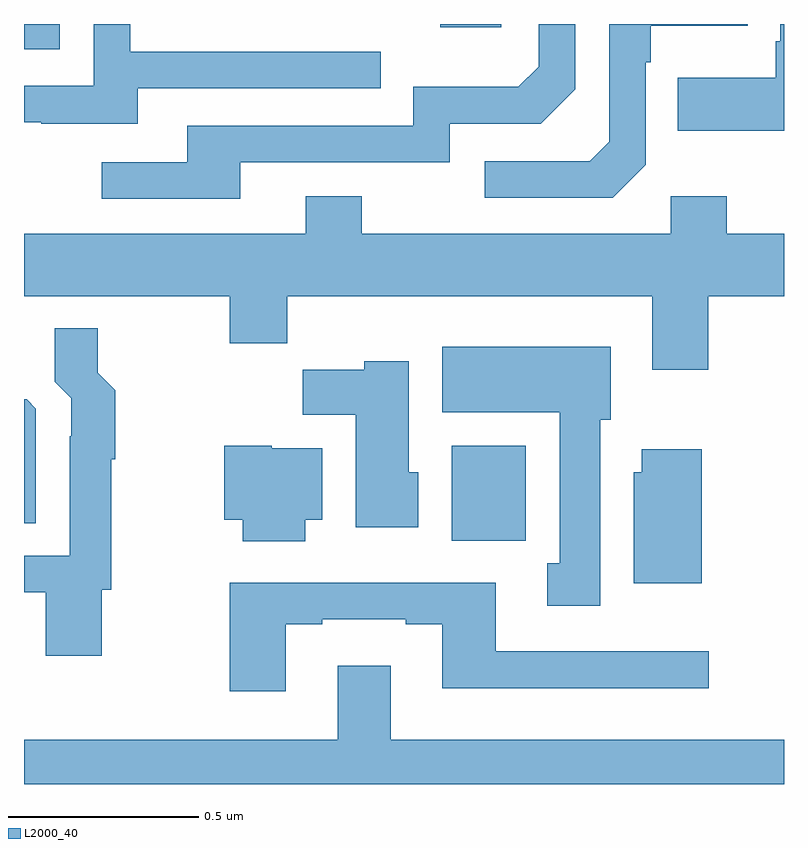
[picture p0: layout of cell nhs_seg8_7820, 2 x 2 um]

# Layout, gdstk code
import gdstk
lib = gdstk.Library(unit=1e-6, precision=1e-09)
def R(c, l, rs):  # rectangles x0, y0, x1, y1
    for r in rs: c.add(gdstk.rectangle(r[:2], r[2:], *l))
def P(c, l, *ps):  # polygons
    for p in ps: c.add(gdstk.Polygon(p, *l))
L2000_40 = (2000, 40)

nhs_seg8_7820 = lib.new_cell('nhs_seg8_7820')
R(nhs_seg8_7820, L2000_40, [(216.125,1098.54,216.321,1098.79), (215,1099.833,215.094,1099.9), (216.095,1099.892,216.256,1099.9)])
P(nhs_seg8_7820, L2000_40, [(216.636,1099.53),(216.636,1099.799),(216.649,1099.799),(216.649,1099.895),(216.905,1099.895),(216.905,1099.9),(216.54,1099.9),(216.54,1099.59),(216.489,1099.539),(216.213,1099.539),(216.213,1099.443),(216.549,1099.443)],
  [(215.569,1099.536),(216.12,1099.536),(216.12,1099.638),(216.36,1099.638),(216.45,1099.728),(216.45,1099.9),(216.354,1099.9),(216.354,1099.788),(216.301,1099.735),(216.024,1099.735),(216.024,1099.632),(215.429,1099.632),(215.429,1099.536),(215.205,1099.536),(215.205,1099.44),(215.569,1099.44)],
  [(215.299,1099.731),(215.939,1099.731),(215.939,1099.827),(215.28,1099.827),(215.28,1099.9),(215.184,1099.9),(215.184,1099.737),(215,1099.737),(215,1099.641),(215.045,1099.641),(215.045,1099.637),(215.299,1099.637)],
  [(217,1099.9),(216.99,1099.9),(216.99,1099.855),(216.978,1099.855),(216.978,1099.759),(216.721,1099.759),(216.721,1099.619),(217,1099.619)],
  [(216.702,1099.447),(216.702,1099.348),(215.889,1099.348),(215.889,1099.447),(215.741,1099.447),(215.741,1099.348),(215,1099.348),(215,1099.184),(215.542,1099.184),(215.542,1099.06),(215.693,1099.06),(215.693,1099.184),(216.653,1099.184),(216.653,1098.99),(216.801,1098.99),(216.801,1099.184),(217,1099.184),(217,1099.348),(216.849,1099.348),(216.849,1099.447)],
  [(215.205,1098.411),(215.23,1098.411),(215.23,1098.754),(215.24,1098.754),(215.24,1098.936),(215.194,1098.982),(215.194,1099.099),(215.081,1099.099),(215.081,1098.958),(215.124,1098.915),(215.124,1098.815),(215.121,1098.815),(215.121,1098.501),(215,1098.501),(215,1098.404),(215.057,1098.404),(215.057,1098.237),(215.205,1098.237)],
  [(216.517,1098.858),(216.544,1098.858),(216.544,1099.051),(216.101,1099.051),(216.101,1098.878),(216.41,1098.878),(216.41,1098.481),(216.377,1098.481),(216.377,1098.369),(216.517,1098.369)],
  [(216.037,1098.72),(216.013,1098.72),(216.013,1099.012),(215.895,1099.012),(215.895,1098.99),(215.734,1098.99),(215.734,1098.872),(215.873,1098.872),(215.873,1098.576),(216.037,1098.576)],
  [(215.031,1098.888),(215.007,1098.912),(215,1098.912),(215,1098.586),(215.031,1098.586)],
  [(215.74,1098.596),(215.785,1098.596),(215.785,1098.784),(215.652,1098.784),(215.652,1098.79),(215.527,1098.79),(215.527,1098.596),(215.575,1098.596),(215.575,1098.539),(215.74,1098.539)],
  [(216.784,1098.781),(216.626,1098.781),(216.626,1098.72),(216.605,1098.72),(216.605,1098.428),(216.784,1098.428)],
  [(215.689,1098.321),(215.785,1098.321),(215.785,1098.333),(216.005,1098.333),(216.005,1098.321),(216.101,1098.321),(216.101,1098.152),(216.802,1098.152),(216.802,1098.249),(216.241,1098.249),(216.241,1098.43),(215.542,1098.43),(215.542,1098.144),(215.689,1098.144)],
  [(217,1098.016),(215.965,1098.016),(215.965,1098.211),(215.825,1098.211),(215.825,1098.016),(215,1098.016),(215,1097.9),(217,1097.9)])

lib.write_gds('nhs_seg8_7820.gds')
